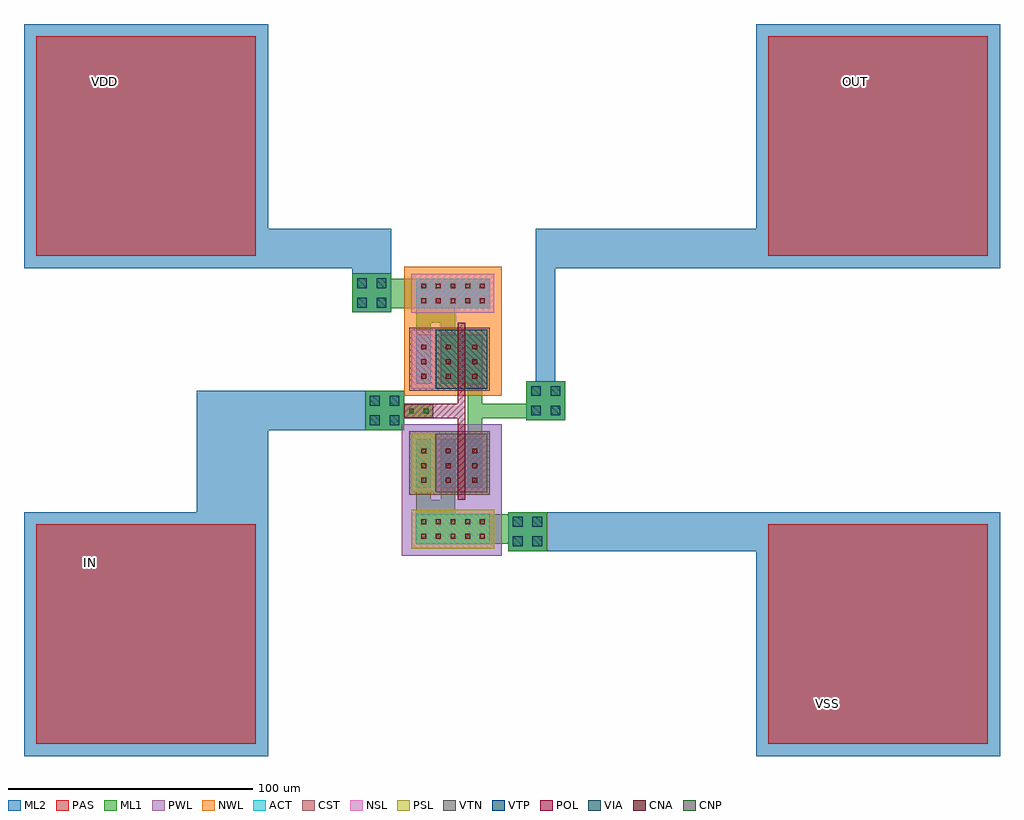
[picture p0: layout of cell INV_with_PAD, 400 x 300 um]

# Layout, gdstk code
import gdstk
lib = gdstk.Library(unit=1e-6, precision=1e-09)
def R(c, l, rs):  # rectangles x0, y0, x1, y1
    for r in rs: c.add(gdstk.rectangle(r[:2], r[2:], *l))
def A(c, l, x, y, w, h, nx, ny, dx, dy):  # array of equal rectangles
    R(c, l, [(x+i*dx, y+j*dy, x+i*dx+w, y+j*dy+h) for i in range(nx) for j in range(ny)])
NWL = (1, 0)
PWL = (2, 0)
CST = (3, 0)
ACT = (4, 0)
VTN = (5, 0)
VTP = (6, 0)
POL = (7, 0)
NSL = (8, 0)
PSL = (9, 0)
CNA = (10, 0)
CNP = (11, 0)
ML1 = (12, 0)
VIA = (13, 0)
ML2 = (14, 0)
PAS = (15, 0)

inv_with_pad = lib.new_cell('INV_with_PAD')
R(inv_with_pad, NWL, [(172.2,152.4,212.2,205.4)])
R(inv_with_pad, PWL, [(171.2,86.8,212.2,140.8)])
R(inv_with_pad, CST, [(174.2,111.8,207.2,137.8), (174.2,154.4,207.2,180.4)])
A(inv_with_pad, ACT, 177.2, 91.8, 6, 6, 5, 2, 6, 6)
A(inv_with_pad, ACT, 187.2, 157.4, 6, 6, 1, 3, 0, 6)
A(inv_with_pad, ACT, 198.2, 157.4, 6, 6, 1, 3, 0, 6)
A(inv_with_pad, ACT, 177.2, 188.4, 6, 6, 5, 2, 6, 6)
R(inv_with_pad, ACT, [(177.2,114.8,183.2,134.8), (187.2,114.8,204.2,134.8), (177.2,157.4,183.2,177.4), (187.2,157.4,204.2,177.4), (177.2,163.4,183.2,169.4)])
R(inv_with_pad, VTN, [(185.2,112.8,206.2,136.8)])
R(inv_with_pad, VTP, [(185.2,155.4,206.2,179.4)])
R(inv_with_pad, POL, [(194.2,109.8,197.2,145.8), (172.2,143.2,184.2,149.2), (182.4,143.2,195.5,149.2), (194.2,144.8,197.2,182.4)])
R(inv_with_pad, NSL, [(185.2,112.8,206.2,136.8), (175.2,155.4,185.2,179.4), (175.2,186.4,209.2,202.4)])
R(inv_with_pad, PSL, [(175.2,89.8,209.2,105.8), (175.2,112.8,185.2,136.8), (185.2,155.4,206.2,179.4)])
A(inv_with_pad, CNA, 179.2, 93.8, 2, 2, 5, 2, 6, 6)
A(inv_with_pad, CNA, 179.2, 116.8, 2, 2, 1, 3, 0, 6)
A(inv_with_pad, CNA, 189.2, 116.8, 2, 2, 1, 3, 0, 6)
A(inv_with_pad, CNA, 200.2, 116.8, 2, 2, 1, 3, 0, 6)
A(inv_with_pad, CNA, 179.2, 159.4, 2, 2, 1, 3, 0, 6)
A(inv_with_pad, CNA, 189.2, 159.4, 2, 2, 1, 3, 0, 6)
A(inv_with_pad, CNA, 200.2, 159.4, 2, 2, 1, 3, 0, 6)
A(inv_with_pad, CNA, 179.2, 190.4, 2, 2, 5, 2, 6, 6)
R(inv_with_pad, CNP, [(174.2,145.2,176.2,147.2), (180.2,145.2,182.2,147.2)])
A(inv_with_pad, ML1, 177.2, 91.8, 6, 6, 5, 2, 6, 6)
A(inv_with_pad, ML1, 177.2, 188.4, 6, 6, 5, 2, 6, 6)
R(inv_with_pad, ML1, [(214.8,88.8,222.8,96.8), (222.8,88.8,230.8,96.8), (201.2,91.8,214.8,103.8), (214.8,96.8,222.8,104.8), (222.8,96.8,230.8,104.8), (177.2,103.8,183.2,115.8), (181.2,103.8,189.2,109.8), (187.2,103.8,193.2,115.8), (177.2,114.8,183.2,120.8), (187.2,114.8,193.2,120.8), (198.2,114.8,204.2,120.8), (177.2,120.8,183.2,126.8), (187.2,120.8,193.2,126.8), (198.2,120.8,204.2,126.8), (177.2,126.8,183.2,134.8), (187.2,126.8,193.2,134.8), (198.2,126.8,204.2,135.8), (198.2,133.8,204.2,158.8), (156.2,138.4,164.2,146.4), (164.2,138.4,172.2,146.4), (222.2,142.4,230.2,150.4), (230.2,142.4,238.2,150.4), (172.2,143.2,178.2,149.2), (178.2,143.2,184.2,149.2), (201.2,143.2,230.2,149.2), (156.2,146.4,164.2,154.4), (164.2,146.4,172.2,154.4), (222.2,150.4,230.2,158.4), (230.2,150.4,238.2,158.4), (177.2,157.4,183.2,163.4), (187.2,157.4,193.2,163.4), (198.2,157.4,204.2,163.4), (177.2,163.4,183.2,169.4), (187.2,163.4,193.2,169.4), (198.2,163.4,204.2,169.4), (177.2,169.4,183.2,188.4), (187.2,169.4,193.2,178.4), (198.2,169.4,204.2,177.4), (187.2,176.7,193.2,188.4), (181.2,182.4,189.2,188.4), (150.9,186.6,158.9,194.6), (158.9,186.6,166.9,194.6), (166,188.4,179.6,200.4), (150.9,194.6,158.9,202.6), (158.9,194.6,166.9,202.6)])
R(inv_with_pad, VIA, [(216.8,90.8,220.8,94.8), (224.8,90.8,228.8,94.8), (216.8,98.8,220.8,102.8), (224.8,98.8,228.8,102.8), (158.2,140.4,162.2,144.4), (166.2,140.4,170.2,144.4), (224.2,144.4,228.2,148.4), (232.2,144.4,236.2,148.4), (158.2,148.4,162.2,152.4), (166.2,148.4,170.2,152.4), (224.2,152.4,228.2,156.4), (232.2,152.4,236.2,156.4), (152.9,188.6,156.9,192.6), (160.9,188.6,164.9,192.6), (152.9,196.6,156.9,200.6), (160.9,196.6,164.9,200.6)])
R(inv_with_pad, ML2, [(16.4,4.8,116.4,104.8), (316.4,4.8,416.4,104.8), (214.8,88.8,222.8,96.8), (222.8,88.8,230.8,96.8), (226.8,88.8,345.5,104.8), (214.8,96.8,222.8,104.8), (222.8,96.8,230.8,104.8), (87.1,104.8,116.4,138.4), (87.1,138.4,164.6,154.4), (156.2,138.4,164.2,146.4), (164.2,138.4,172.2,146.4), (222.2,142.4,230.2,150.4), (230.2,142.4,238.2,150.4), (156.2,146.4,164.2,154.4), (164.2,146.4,172.2,154.4), (222.2,150.4,230.2,158.4), (230.2,150.4,238.2,158.4), (226.2,154.3,234.2,220.8), (150.9,186.6,158.9,194.6), (158.9,186.6,166.9,194.6), (150.9,194.6,158.9,202.6), (158.9,194.6,166.9,202.6), (150.9,202.6,166.9,220.8), (16.4,204.8,116.4,304.8), (45.9,204.8,164.6,220.8), (226.8,204.8,345.5,220.8), (316.4,204.8,416.4,304.8)])
R(inv_with_pad, PAS, [(21.4,9.8,111.4,99.8), (321.4,9.8,411.4,99.8), (21.4,209.8,111.4,299.8), (321.4,209.8,411.4,299.8)])
inv_with_pad.add(gdstk.Label('VDD', (49.5,281.4), layer=31, texttype=0))
inv_with_pad.add(gdstk.Label('VSS', (345.6,26.3), layer=31, texttype=0))
inv_with_pad.add(gdstk.Label('OUT', (357.2,281.4), layer=31, texttype=0))
inv_with_pad.add(gdstk.Label('IN', (43.7,84.3), layer=31, texttype=0))

lib.write_gds('INV_with_PAD.gds')
